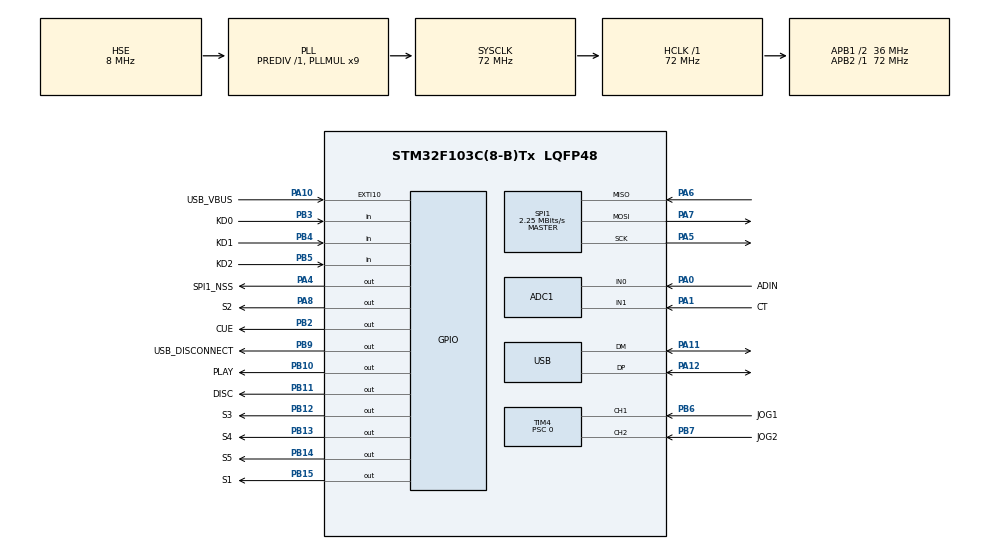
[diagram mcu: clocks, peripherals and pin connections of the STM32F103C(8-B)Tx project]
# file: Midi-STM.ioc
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ADC1.Channel-0\#ChannelRegularConversion=ADC_CHANNEL_0
ADC1.Channel-1\#ChannelRegularConversion=ADC_CHANNEL_1
ADC1.ContinuousConvMode=ENABLE
ADC1.ExternalTrigConv=ADC_EXTERNALTRIGCONV_T3_TRGO
ADC1.NbrOfConversion=2
ADC1.NbrOfConversionFlag=1
ADC1.Rank-0\#ChannelRegularConversion=1
ADC1.Rank-1\#ChannelRegularConversion=2
ADC1.SamplingTime-0\#ChannelRegularConversion=ADC_SAMPLETIME_13CYCLES_5
ADC1.SamplingTime-1\#ChannelRegularConversion=ADC_SAMPLETIME_13CYCLES_5
ADC1.master=1
Dma.ADC1.0.Direction=DMA_PERIPH_TO_MEMORY
Dma.ADC1.0.Instance=DMA1_Channel1
Dma.ADC1.0.MemDataAlignment=DMA_MDATAALIGN_HALFWORD
Dma.ADC1.0.MemInc=DMA_MINC_ENABLE
Dma.ADC1.0.Mode=DMA_CIRCULAR
Dma.ADC1.0.PeriphDataAlignment=DMA_PDATAALIGN_HALFWORD
Dma.ADC1.0.PeriphInc=DMA_PINC_DISABLE
Dma.ADC1.0.Priority=DMA_PRIORITY_LOW
Dma.Request0=ADC1
Mcu.Family=STM32F1
Mcu.Name=STM32F103C(8-B)Tx
Mcu.Package=LQFP48
NVIC.DMA1_Channel1_IRQn=true\:1\:0\:true\:false\:true\:false\:true
NVIC.EXTI15_10_IRQn=true\:0\:0\:false\:false\:true\:true\:true
NVIC.PriorityGroup=NVIC_PRIORITYGROUP_4
NVIC.TIM3_IRQn=true\:1\:0\:true\:false\:true\:true\:true
NVIC.TIM4_IRQn=true\:1\:0\:true\:false\:true\:true\:true
NVIC.USB_LP_CAN1_RX0_IRQn=true\:0\:0\:false\:false\:true\:false\:true
PA0-WKUP.GPIO_Label=ADIN
PA0-WKUP.Signal=ADCx_IN0
PA1.GPIO_Label=CT
PA1.Signal=ADCx_IN1
PA10.GPIO_Label=USB_VBUS
PA10.GPIO_ModeDefaultEXTI=GPIO_MODE_IT_RISING_FALLING
PA10.GPIO_PuPd=GPIO_PULLDOWN
PA10.Signal=GPXTI10
PA11.Mode=Device
PA11.Signal=USB_DM
PA12.Mode=Device
PA12.Signal=USB_DP
PA13.Mode=Serial_Wire
PA13.Signal=SYS_JTMS-SWDIO
PA14.Mode=Serial_Wire
PA14.Signal=SYS_JTCK-SWCLK
PA4.GPIO_Label=SPI1_NSS
PA4.PinState=GPIO_PIN_SET
PA4.Signal=GPIO_Output
PA5.Mode=Full_Duplex_Master
PA5.Signal=SPI1_SCK
PA6.Mode=Full_Duplex_Master
PA6.Signal=SPI1_MISO
PA7.Mode=Full_Duplex_Master
PA7.Signal=SPI1_MOSI
PA8.GPIO_Label=S2
PA8.Signal=GPIO_Output
PB10.GPIO_Label=PLAY
PB10.GPIO_ModeDefaultOutputPP=GPIO_MODE_OUTPUT_OD
PB10.PinState=GPIO_PIN_SET
PB10.Signal=GPIO_Output
PB11.GPIO_Label=DISC
PB11.GPIO_ModeDefaultOutputPP=GPIO_MODE_OUTPUT_OD
PB11.PinState=GPIO_PIN_SET
PB11.Signal=GPIO_Output
PB12.GPIO_Label=S3
PB12.Signal=GPIO_Output
PB13.GPIO_Label=S4
PB13.Signal=GPIO_Output
PB14.GPIO_Label=S5
PB14.Signal=GPIO_Output
PB15.GPIO_Label=S1
PB15.Signal=GPIO_Output
PB2.GPIO_Label=CUE
PB2.GPIO_ModeDefaultOutputPP=GPIO_MODE_OUTPUT_OD
PB2.PinState=GPIO_PIN_SET
PB2.Signal=GPIO_Output
PB3.GPIO_Label=KD0
PB3.Signal=GPIO_Input
PB4.GPIO_Label=KD1
PB4.Signal=GPIO_Input
PB5.GPIO_Label=KD2
PB5.Signal=GPIO_Input
PB6.GPIO_Label=JOG1
PB6.Signal=S_TIM4_CH1
PB7.GPIO_Label=JOG2
PB7.Signal=S_TIM4_CH2
PB9.GPIO_Label=USB_DISCONNECT
PB9.GPIO_ModeDefaultOutputPP=GPIO_MODE_OUTPUT_OD
PB9.PinState=GPIO_PIN_SET
PB9.Signal=GPIO_Output
PD0-OSC_IN.Mode=HSE-External-Oscillator
PD0-OSC_IN.Signal=RCC_OSC_IN
PD1-OSC_OUT.Mode=HSE-External-Oscillator
PD1-OSC_OUT.Signal=RCC_OSC_OUT
ProjectManager.HeapSize=0x200
ProjectManager.StackSize=0x400
ProjectManager.TargetToolchain=STM32CubeIDE
RCC.ADCPresc=RCC_ADCPCLK2_DIV6
RCC.AHBFreq_Value=72000000
RCC.APB1CLKDivider=RCC_HCLK_DIV2
RCC.APB1Freq_Value=36000000
RCC.APB1TimFreq_Value=72000000
RCC.APB2Freq_Value=72000000
RCC.APB2TimFreq_Value=72000000
RCC.HCLKFreq_Value=72000000
RCC.PLLMUL=RCC_PLL_MUL9
RCC.SYSCLKFreq_VALUE=72000000
RCC.SYSCLKSource=RCC_SYSCLKSOURCE_PLLCLK
RCC.USBFreq_Value=48000000
RCC.USBPrescaler=RCC_USBCLKSOURCE_PLL_DIV1_5
SH.ADCx_IN0.0=ADC1_IN0,IN0
SH.ADCx_IN1.0=ADC1_IN1,IN1
SH.S_TIM4_CH1.0=TIM4_CH1,Encoder_Interface
SH.S_TIM4_CH2.0=TIM4_CH2,Encoder_Interface
SPI1.BaudRatePrescaler=SPI_BAUDRATEPRESCALER_32
SPI1.CLKPhase=SPI_PHASE_2EDGE
SPI1.CLKPolarity=SPI_POLARITY_HIGH
SPI1.CRCCalculation=SPI_CRCCALCULATION_DISABLE
SPI1.CalculateBaudRate=2.25 MBits/s
SPI1.DataSize=SPI_DATASIZE_8BIT
SPI1.Direction=SPI_DIRECTION_2LINES
SPI1.Mode=SPI_MODE_MASTER
SPI1.VirtualType=VM_MASTER
TIM3.Period=199
TIM3.Prescaler=47
TIM3.TIM_MasterOutputTrigger=TIM_TRGO_UPDATE
TIM4.IC1Filter=0xf
TIM4.IC1Polarity=TIM_ICPOLARITY_FALLING
TIM4.IC2Filter=0xf
TIM4.IC2Polarity=TIM_ICPOLARITY_FALLING
TIM4.Period=119
TIM4.Prescaler=0
USB_DEVICE.CLASS_NAME_FS=AUDIO
USB_DEVICE.PRODUCT_STRING_AUDIO_FS=Pioneer CDJ-100S
USB_DEVICE.VID=1154
USB_DEVICE.VirtualMode=Audio
USB_DEVICE.VirtualModeFS=Audio_FS
VP_TIM3_VS_ClockSourceINT.Mode=Internal
VP_USB_DEVICE_VS_USB_DEVICE_AUDIO_FS.Mode=AUDIO_FS
board=custom

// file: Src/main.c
/* USER CODE BEGIN Header */
/**
  ******************************************************************************
  * @file           : main.c
  * @brief          : Main program body
  ******************************************************************************
  * This notice applies to any and all portions of this file
  * that are not between comment pairs USER CODE BEGIN and
  * USER CODE END. Other portions of this file, whether
  * inserted by the user or by software development tools
  * are owned by their respective copyright owners.
  *
  * Copyright (c) 2019 STMicroelectronics International N.V.
  * All rights reserved.
  *
  * Redistribution and use in source and binary forms, with or without
  * modification, are permitted, provided that the following conditions are met:
  *
  * 1. Redistribution of source code must retain the above copyright notice,
  *    this list of conditions and the following disclaimer.
  * 2. Redistributions in binary form must reproduce the above copyright notice,
  *    this list of conditions and the following disclaimer in the documentation
  *    and/or other materials provided with the distribution.
  * 3. Neither the name of STMicroelectronics nor the names of other
  *    contributors to this software may be used to endorse or promote products
  *    derived from this software without specific written permission.
  * 4. This software, including modifications and/or derivative works of this
  *    software, must execute solely and exclusively on microcontroller or
  *    microprocessor devices manufactured by or for STMicroelectronics.
  * 5. Redistribution and use of this software other than as permitted under
  *    this license is void and will automatically terminate your rights under
  *    this license.
  *
  * THIS SOFTWARE IS PROVIDED BY STMICROELECTRONICS AND CONTRIBUTORS "AS IS"
  * AND ANY EXPRESS, IMPLIED OR STATUTORY WARRANTIES, INCLUDING, BUT NOT
  * LIMITED TO, THE IMPLIED WARRANTIES OF MERCHANTABILITY, FITNESS FOR A
  * PARTICULAR PURPOSE AND NON-INFRINGEMENT OF THIRD PARTY INTELLECTUAL PROPERTY
  * RIGHTS ARE DISCLAIMED TO THE FULLEST EXTENT PERMITTED BY LAW. IN NO EVENT
  * SHALL STMICROELECTRONICS OR CONTRIBUTORS BE LIABLE FOR ANY DIRECT, INDIRECT,
  * INCIDENTAL, SPECIAL, EXEMPLARY, OR CONSEQUENTIAL DAMAGES (INCLUDING, BUT NOT
  * LIMITED TO, PROCUREMENT OF SUBSTITUTE GOODS OR SERVICES; LOSS OF USE, DATA,
  * OR PROFITS; OR BUSINESS INTERRUPTION) HOWEVER CAUSED AND ON ANY THEORY OF
  * LIABILITY, WHETHER IN CONTRACT, STRICT LIABILITY, OR TORT (INCLUDING
  * NEGLIGENCE OR OTHERWISE) ARISING IN ANY WAY OUT OF THE USE OF THIS SOFTWARE,
  * EVEN IF ADVISED OF THE POSSIBILITY OF SUCH DAMAGE.
  *
  ******************************************************************************
  */
/* USER CODE END Header */

#include "main.h"
#include "adc.h"
#include "dma.h"
#include "spi.h"
#include "tim.h"
#include "usb_device.h"
#include "gpio.h"

/* USER CODE BEGIN Includes */
#include "usbd_midi_if.h"
/* USER CODE END Includes */

/* USER CODE BEGIN PV */
/* Private variables ---------------------------------------------------------*/
 uint8_t Hold_On[4] = {0x08, 0x90, 0x40, 0x47};
 uint8_t Hold_Off[4] = {0x08, 0x80, 0x40, 0x47};

 uint8_t Time_On[4] = {0x08, 0x90, 0x41, 0x47};
 uint8_t Time_Off[4] = {0x08, 0x80, 0x41, 0x47};

 uint8_t Eject_On[4] = {0x08, 0x90, 0x42, 0x47};
 uint8_t Eject_Off[4] = {0x08, 0x80, 0x42, 0x47};

 uint8_t MasterTempo_On[4] = {0x08, 0x90, 0x43, 0x47};
 uint8_t MasterTempo_Off[4] = {0x08, 0x80, 0x43, 0x47};

 uint8_t TrackBack_On[4] = {0x08, 0x90, 0x44, 0x47};
 uint8_t TrackBack_Off[4] = {0x08, 0x80, 0x44, 0x47};

 uint8_t TrackForward_On[4] = {0x08, 0x90, 0x45, 0x47};
 uint8_t TrackForward_Off[4] = {0x08, 0x80, 0x45, 0x47};

 uint8_t Jet_On[4] = {0x08, 0x90, 0x46, 0x47};
 uint8_t Jet_Off[4] = {0x08, 0x80, 0x46, 0x47};

 uint8_t Zip_On[4] = {0x08, 0x90, 0x47, 0x47};
 uint8_t Zip_Off[4] = {0x08, 0x80, 0x47, 0x47};

 uint8_t Wah_On[4] = {0x08, 0x90, 0x48, 0x47};
 uint8_t Wah_Off[4] = {0x08, 0x80, 0x48, 0x47};

 uint8_t Play_On[4] = {0x08, 0x90, 0x49, 0x47};
 uint8_t Play_Off[4] = {0x08, 0x80, 0x49, 0x47};

 uint8_t Cue_On[4] = {0x08, 0x90, 0x4A, 0x47};
 uint8_t Cue_Off[4] = {0x08, 0x80, 0x4A, 0x47};

 uint8_t ScanBack_On[4] = {0x08, 0x90, 0x4B, 0x47};
 uint8_t ScanBack_Off[4] = {0x08, 0x80, 0x4B, 0x47};

 uint8_t ScanForward_On[4] = {0x08, 0x90, 0x4C, 0x47};
 uint8_t ScanForward_Off[4] = {0x08, 0x80, 0x4C, 0x47};

 uint8_t Jog_On[4] = {0x08, 0x90, 0x4D, 0x47};
 uint8_t Jog_Off[4] = {0x08, 0x80, 0x4D, 0x47};

 uint8_t Disconnected[4] = {0x08, 0x80, 0x6A, 0x47};
 uint8_t Connected[4] = {0x08, 0x90, 0x6A, 0x47};

 uint8_t Pitch[4] = {0x08, 0xE0, 0x00, 0x00};

 volatile uint8_t usb_status = DISCONNECTED;

 uint16_t adc_data[200] = {0};
 uint8_t spi_rx_buffer[4] = {0};
 uint16_t button_flags = 0;

/* USER CODE END PV */

void SystemClock_Config(void);
/* USER CODE BEGIN PFP */
/* Private function prototypes -----------------------------------------------*/
void Keyboard_Read();
/* USER CODE END PFP */

int main(void)
{

  /* MCU Configuration--------------------------------------------------------*/

  /* Reset of all peripherals, Initializes the Flash interface and the Systick. */
  HAL_Init();

  /* Configure the system clock */
  SystemClock_Config();

  /* Initialize all configured peripherals */
  MX_GPIO_Init();
  MX_DMA_Init();
  MX_ADC1_Init();
  MX_SPI1_Init();
  MX_TIM3_Init();
  MX_TIM4_Init();
  /* USER CODE BEGIN 2 */
  MX_USB_DEVICE_Init();
  HAL_Delay(3000);
  //NVIC_DisableIRQ(EXTI15_10_IRQn);
  // start ADC for pitch slider
  HAL_ADCEx_Calibration_Start(&hadc1);
  HAL_ADC_Start_DMA(&hadc1, (uint32_t*)&adc_data, 200);
  // start TIM3 for ADC trigger
  HAL_TIM_Base_Start_IT(&htim3);
  // start TIM4 for jog encoder
  HAL_TIM_Encoder_Start_IT(&htim4, TIM_CHANNEL_1 | TIM_CHANNEL_2);
  // check if USB cable is plugged in
//  if(HAL_GPIO_ReadPin(USB_VBUS_GPIO_Port, USB_VBUS_Pin) == GPIO_PIN_RESET) {
//	  usb_status = DISCONNECTED;
//	  Display_DataTx(Disconnected, 4);
//  }
//  else {
//	  usb_status = PLUGGED;
//	  HAL_GPIO_WritePin(USB_DISCONNECT_GPIO_Port, USB_DISCONNECT_Pin,
//			  GPIO_PIN_RESET);
//	  MX_USB_DEVICE_Init();
//	  HAL_Delay(1000);
//	  usb_status = CONNECTED;
//	  Display_DataTx(Connected, 4);
//  }
  //NVIC_EnableIRQ(EXTI15_10_IRQn);
  /* USER CODE END 2 */

  /* Infinite loop */
  /* USER CODE BEGIN WHILE */

  //HAL_Delay(5000);

  while (1)
  {
//	  Keyboard_Read();
	  MIDI_DataTx(Play_On, 4);
	  HAL_Delay(750);
//	  Display_DataRx();
//	  HAL_Delay(25);
    /* USER CODE END WHILE */

  }
}

void SystemClock_Config(void)
{
  RCC_OscInitTypeDef RCC_OscInitStruct = {0};
  RCC_ClkInitTypeDef RCC_ClkInitStruct = {0};
  RCC_PeriphCLKInitTypeDef PeriphClkInit = {0};

  /** Initializes the CPU, AHB and APB busses clocks
  */
  RCC_OscInitStruct.OscillatorType = RCC_OSCILLATORTYPE_HSE;
  RCC_OscInitStruct.HSEState = RCC_HSE_ON;
  RCC_OscInitStruct.HSEPredivValue = RCC_HSE_PREDIV_DIV1;
  RCC_OscInitStruct.HSIState = RCC_HSI_ON;
  RCC_OscInitStruct.PLL.PLLState = RCC_PLL_ON;
  RCC_OscInitStruct.PLL.PLLSource = RCC_PLLSOURCE_HSE;
  RCC_OscInitStruct.PLL.PLLMUL = RCC_PLL_MUL9;
  if (HAL_RCC_OscConfig(&RCC_OscInitStruct) != HAL_OK)
  {
    Error_Handler();
  }
  /** Initializes the CPU, AHB and APB busses clocks
  */
  RCC_ClkInitStruct.ClockType = RCC_CLOCKTYPE_HCLK|RCC_CLOCKTYPE_SYSCLK
                              |RCC_CLOCKTYPE_PCLK1|RCC_CLOCKTYPE_PCLK2;
  RCC_ClkInitStruct.SYSCLKSource = RCC_SYSCLKSOURCE_PLLCLK;
  RCC_ClkInitStruct.AHBCLKDivider = RCC_SYSCLK_DIV1;
  RCC_ClkInitStruct.APB1CLKDivider = RCC_HCLK_DIV2;
  RCC_ClkInitStruct.APB2CLKDivider = RCC_HCLK_DIV1;

  if (HAL_RCC_ClockConfig(&RCC_ClkInitStruct, FLASH_LATENCY_2) != HAL_OK)
  {
    Error_Handler();
  }
  PeriphClkInit.PeriphClockSelection = RCC_PERIPHCLK_ADC|RCC_PERIPHCLK_USB;
  PeriphClkInit.AdcClockSelection = RCC_ADCPCLK2_DIV6;
  PeriphClkInit.UsbClockSelection = RCC_USBCLKSOURCE_PLL_DIV1_5;
  if (HAL_RCCEx_PeriphCLKConfig(&PeriphClkInit) != HAL_OK)
  {
    Error_Handler();
  }
}

/* USER CODE BEGIN 4 */
// reads CDJ-100S buttons
void Keyboard_Read() {
	HAL_GPIO_WritePin(S1_GPIO_Port, S1_Pin, GPIO_PIN_SET);
	if(HAL_GPIO_ReadPin(KD0_GPIO_Port, KD0_Pin) == GPIO_PIN_SET) {
		if(!(button_flags & (1 << HOLD))) {
			button_flags ^= (1 << HOLD);
			if(usb_status == CONNECTED) {
				MIDI_DataTx(Hold_On, 4);
			}
			Display_DataTx(Hold_On, 4);
		}
	}
	else {
		if(button_flags & (1 << HOLD)) {
			button_flags ^= (1 << HOLD);
			if(usb_status == CONNECTED) {
				MIDI_DataTx(Hold_Off, 4);
			}
			Display_DataTx(Hold_Off, 4);
		}
	}
	if(HAL_GPIO_ReadPin(KD1_GPIO_Port, KD1_Pin) == GPIO_PIN_SET) {
		if(!(button_flags & (1 << TRACKBACK))) {
			button_flags ^= (1 << TRACKBACK);
			if(usb_status == CONNECTED) {
				MIDI_DataTx(TrackBack_On, 4);
			}
			Display_DataTx(TrackBack_On, 4);
		}
	}
	else {
		if(button_flags & (1 << TRACKBACK)) {
			button_flags ^= (1 << TRACKBACK);
			if(usb_status == CONNECTED) {
				MIDI_DataTx(TrackBack_Off, 4);
			}
			Display_DataTx(TrackBack_Off, 4);
		}
	}
	if(HAL_GPIO_ReadPin(KD2_GPIO_Port, KD2_Pin) == GPIO_PIN_SET) {
		if(!(button_flags & (1 << PLAY))) {
			button_flags ^= (1 << PLAY);
			if(usb_status == CONNECTED) {
				MIDI_DataTx(Play_On, 4);
			}
			Display_DataTx(Play_On, 4);
		}
	}
	else {
		if(button_flags & (1 << PLAY)) {
			button_flags ^= (1 << PLAY);
			if(usb_status == CONNECTED) {
				MIDI_DataTx(Play_Off, 4);
			}
			Display_DataTx(Play_Off, 4);
		}
	}
	HAL_GPIO_WritePin(S1_GPIO_Port, S1_Pin, GPIO_PIN_RESET);
	HAL_GPIO_WritePin(S2_GPIO_Port, S2_Pin, GPIO_PIN_SET);
	if(HAL_GPIO_ReadPin(KD0_GPIO_Port, KD0_Pin) == GPIO_PIN_SET) {
		if(!(button_flags & (1 << TIME))) {
			button_flags ^= (1 << TIME);
			if(usb_status == CONNECTED) {
				MIDI_DataTx(Time_On, 4);
			}
			Display_DataTx(Time_On, 4);
		}
	}
	else {
		if(button_flags & (1 << TIME)) {
			button_flags ^= (1 << TIME);
			if(usb_status == CONNECTED) {
				MIDI_DataTx(Time_Off, 4);
			}
			Display_DataTx(Time_Off, 4);
		}
	}
	if(HAL_GPIO_ReadPin(KD1_GPIO_Port, KD1_Pin) == GPIO_PIN_SET) {
		if(!(button_flags & (1 << TRACKFORWARD))) {
			button_flags ^= (1 << TRACKFORWARD);
			if(usb_status == CONNECTED) {
				MIDI_DataTx(TrackForward_On, 4);
			}
			Display_DataTx(TrackForward_On, 4);
		}
	}
	else {
		if(button_flags & (1 << TRACKFORWARD)) {
			button_flags ^= (1 << TRACKFORWARD);
			if(usb_status == CONNECTED) {
				MIDI_DataTx(TrackForward_Off, 4);
			}
			Display_DataTx(TrackForward_Off, 4);
		}
	}
	if(HAL_GPIO_ReadPin(KD2_GPIO_Port, KD2_Pin) == GPIO_PIN_SET) {
		if(!(button_flags & (1 << CUE))) {
			button_flags ^= (1 << CUE);
			if(usb_status == CONNECTED) {
				MIDI_DataTx(Cue_On, 4);
			}
			Display_DataTx(Cue_On, 4);
		}
	}
	else {
		if(button_flags & (1 << CUE)) {
			button_flags ^= (1 << CUE);
			if(usb_status == CONNECTED) {
				MIDI_DataTx(Cue_Off, 4);
			}
			Display_DataTx(Cue_Off, 4);
		}
	}
	HAL_GPIO_WritePin(S2_GPIO_Port, S2_Pin, GPIO_PIN_RESET);
	HAL_GPIO_WritePin(S3_GPIO_Port, S3_Pin, GPIO_PIN_SET);
	if(HAL_GPIO_ReadPin(KD0_GPIO_Port, KD0_Pin) == GPIO_PIN_SET) {
		if(!(button_flags & (1 << EJECT))) {
			button_flags ^= (1 << EJECT);
			if(usb_status == CONNECTED) {
				MIDI_DataTx(Eject_On, 4);
			}
			Display_DataTx(Eject_On, 4);
		}
	}
	else {
		if(button_flags & (1 << EJECT)) {
			button_flags ^= (1 << EJECT);
			if(usb_status == CONNECTED) {
				MIDI_DataTx(Eject_Off, 4);
			}
			Display_DataTx(Eject_Off, 4);
		}
	}
	if(HAL_GPIO_ReadPin(KD1_GPIO_Port, KD1_Pin) == GPIO_PIN_SET) {
		if(!(button_flags & (1 << JET))) {
			button_flags ^= (1 << JET);
			if(usb_status == CONNECTED) {
				MIDI_DataTx(Jet_On, 4);
			}
			Display_DataTx(Jet_On, 4);
		}
	}
	else {
		if(button_flags & (1 << JET)) {
			button_flags ^= (1 << JET);
			if(usb_status == CONNECTED) {
				MIDI_DataTx(Jet_Off, 4);
			}
			Display_DataTx(Jet_Off, 4);
		}
	}
	if(HAL_GPIO_ReadPin(KD2_GPIO_Port, KD2_Pin) == GPIO_PIN_SET) {
		if(!(button_flags & (1 << SCANBACK))) {
			button_flags ^= (1 << SCANBACK);
			if(usb_status == CONNECTED) {
				MIDI_DataTx(ScanBack_On, 4);
			}
			Display_DataTx(ScanBack_On, 4);
		}
	}
	else {
		if(button_flags & (1 << SCANBACK)) {
			button_flags ^= (1 << SCANBACK);
			if(usb_status == CONNECTED) {
				MIDI_DataTx(ScanBack_Off, 4);
			}
			Display_DataTx(ScanBack_Off, 4);
		}
	}
	HAL_GPIO_WritePin(S3_GPIO_Port, S3_Pin, GPIO_PIN_RESET);
	HAL_GPIO_WritePin(S4_GPIO_Port, S4_Pin, GPIO_PIN_SET);
	if(HAL_GPIO_ReadPin(KD0_GPIO_Port, KD0_Pin) == GPIO_PIN_SET) {
		if(!(button_flags & (1 << MASTERTEMPO))) {
			button_flags ^= (1 << MASTERTEMPO);
			if(usb_status == CONNECTED) {
				MIDI_DataTx(MasterTempo_On, 4);
			}
			Display_DataTx(MasterTempo_On, 4);
		}
	}
	else {
		if(button_flags & (1 << MASTERTEMPO)) {
			button_flags ^= (1 << MASTERTEMPO);
			if(usb_status == CONNECTED) {
				MIDI_DataTx(MasterTempo_Off, 4);
			}
			Display_DataTx(MasterTempo_Off, 4);
		}
	}
	if(HAL_GPIO_ReadPin(KD1_GPIO_Port, KD1_Pin) == GPIO_PIN_SET) {
		if(!(button_flags & (1 << ZIP))) {
			button_flags ^= (1 << ZIP);
			if(usb_status == CONNECTED) {
				MIDI_DataTx(Zip_On, 4);
			}
			Display_DataTx(Zip_On, 4);
		}
	}
	else {
		if(button_flags & (1 << ZIP)) {
			button_flags ^= (1 << ZIP);
			if(usb_status == CONNECTED) {
				MIDI_DataTx(Zip_Off, 4);
			}
			Display_DataTx(Zip_Off, 4);
		}
	}
	if(HAL_GPIO_ReadPin(KD2_GPIO_Port, KD2_Pin) == GPIO_PIN_SET) {
		if(!(button_flags & (1 << SCANFORWARD))) {
			button_flags ^= (1 << SCANFORWARD);
			if(usb_status == CONNECTED) {
				MIDI_DataTx(ScanForward_On, 4);
			}
			Display_DataTx(ScanForward_On, 4);
		}
	}
	else {
		if(button_flags & (1 << SCANFORWARD)) {
			button_flags ^= (1 << SCANFORWARD);
			if(usb_status == CONNECTED) {
				MIDI_DataTx(ScanForward_Off, 4);
			}
			Display_DataTx(ScanForward_Off, 4);
		}
	}
	HAL_GPIO_WritePin(S4_GPIO_Port, S4_Pin, GPIO_PIN_RESET);
	HAL_GPIO_WritePin(S5_GPIO_Port, S5_Pin, GPIO_PIN_SET);
	if(HAL_GPIO_ReadPin(KD0_GPIO_Port, KD0_Pin) == GPIO_PIN_SET) {
		if(!(button_flags & (1 << JOG))) {
			button_flags ^= (1 << JOG);
			if(usb_status == CONNECTED) {
				MIDI_DataTx(Jog_On, 4);
			}
			Display_DataTx(Jog_On, 4);
		}
	}
	else {
		if(button_flags & (1 << JOG)) {
			button_flags ^= (1 << JOG);
			if(usb_status == CONNECTED) {
				MIDI_DataTx(Jog_Off, 4);
			}
			Display_DataTx(Jog_Off, 4);
		}
	}
	if(HAL_GPIO_ReadPin(KD1_GPIO_Port, KD1_Pin) == GPIO_PIN_SET) {
		if(!(button_flags & (1 << WAH))) {
			button_flags ^= (1 << WAH);
			if(usb_status == CONNECTED) {
				MIDI_DataTx(Wah_On, 4);
			}
			Display_DataTx(Wah_On, 4);
		}
	}
	else {
		if(button_flags & (1 << WAH)) {
			button_flags ^= (1 << WAH);
			if(usb_status == CONNECTED) {
				MIDI_DataTx(Wah_Off, 4);
			}
			Display_DataTx(Wah_Off, 4);
		}
	}
	HAL_GPIO_WritePin(S5_GPIO_Port, S5_Pin, GPIO_PIN_RESET);
}

// transmit data to STM32F746DISCO board via SPI1
void Display_DataTx(uint8_t *data, uint16_t length) {
	HAL_GPIO_WritePin(SPI1_NSS_GPIO_Port, SPI1_NSS_Pin, GPIO_PIN_RESET);
	HAL_SPI_Transmit(&hspi1, data, length, 0x1000);
	HAL_GPIO_WritePin(SPI1_NSS_GPIO_Port, SPI1_NSS_Pin, GPIO_PIN_SET);
}

// receive data from STM32F746DISCO board via SPI1
void Display_DataRx() {
	uint8_t dummy_data[4] = {0};
	HAL_GPIO_WritePin(SPI1_NSS_GPIO_Port, SPI1_NSS_Pin, GPIO_PIN_RESET);
	HAL_SPI_TransmitReceive(&hspi1, dummy_data, spi_rx_buffer, 4, 0x1000);
	HAL_GPIO_WritePin(SPI1_NSS_GPIO_Port, SPI1_NSS_Pin, GPIO_PIN_SET);
	if((spi_rx_buffer[1] & 0xF0) == 0x90) {
		if((spi_rx_buffer[2] & (1 << 0))) {
			HAL_GPIO_WritePin(PLAY_GPIO_Port, PLAY_Pin, GPIO_PIN_SET);
		}
		else {
			HAL_GPIO_WritePin(PLAY_GPIO_Port, PLAY_Pin, GPIO_PIN_RESET);
		}
		if((spi_rx_buffer[2] & (1 << 1))) {
			HAL_GPIO_WritePin(CUE_GPIO_Port, CUE_Pin, GPIO_PIN_SET);
		}
		else {
			HAL_GPIO_WritePin(CUE_GPIO_Port, CUE_Pin, GPIO_PIN_RESET);
		}
		if((spi_rx_buffer[2] & (1 << 2))) {
			HAL_GPIO_WritePin(DISC_GPIO_Port, DISC_Pin, GPIO_PIN_SET);
		}
		else {
			HAL_GPIO_WritePin(DISC_GPIO_Port, DISC_Pin, GPIO_PIN_RESET);
		}
		if((spi_rx_buffer[2] & (1 << 3))) {
			Display_DataTx(Pitch, 4);
		}
	}
}
/* USER CODE END 4 */

void Error_Handler(void)
{
  while(1)
  {
  }
}

/************************ (C) COPYRIGHT STMicroelectronics *****END OF FILE****/
